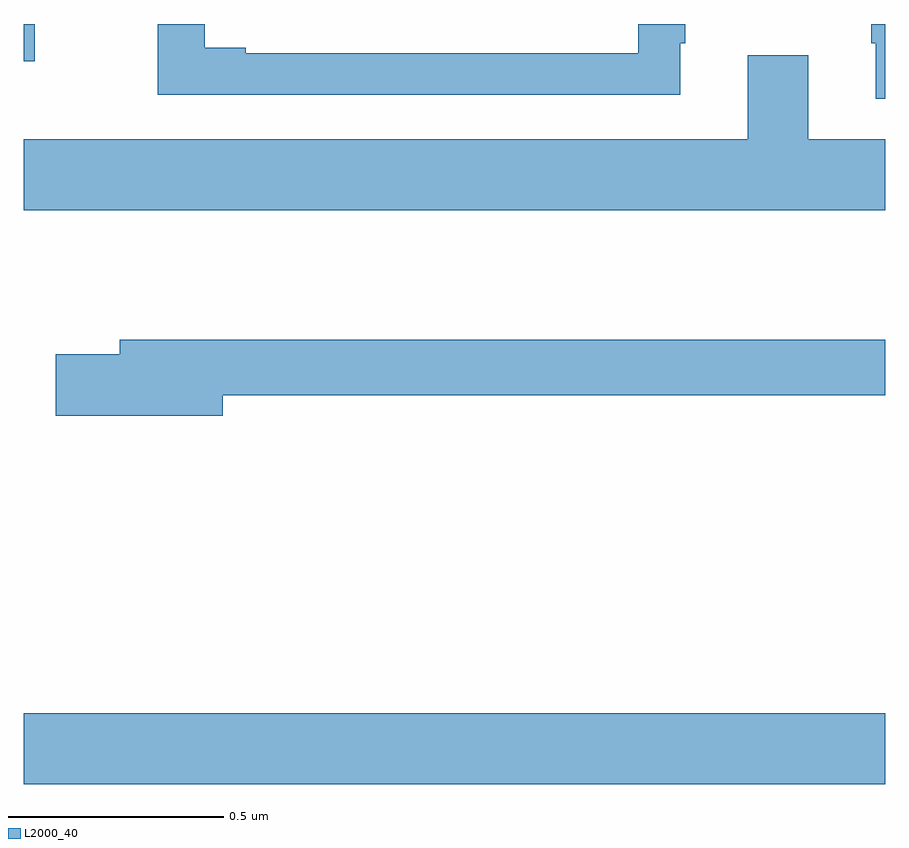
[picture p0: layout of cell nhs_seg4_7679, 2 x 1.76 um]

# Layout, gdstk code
import gdstk
lib = gdstk.Library(unit=1e-6, precision=1e-09)
def R(c, l, rs):  # rectangles x0, y0, x1, y1
    for r in rs: c.add(gdstk.rectangle(r[:2], r[2:], *l))
def P(c, l, *ps):  # polygons
    for p in ps: c.add(gdstk.Polygon(p, *l))
L2000_40 = (2000, 40)

nhs_seg4_7679 = lib.new_cell('nhs_seg4_7679')
R(nhs_seg4_7679, L2000_40, [(205,814.136,207,814.3), (205,815.814,205.026,815.9)])
P(nhs_seg4_7679, L2000_40, [(206.524,815.855),(206.536,815.855),(206.536,815.9),(206.427,815.9),(206.427,815.832),(205.516,815.832),(205.516,815.845),(205.42,815.845),(205.42,815.9),(205.311,815.9),(205.311,815.736),(206.524,815.736)],
  [(207,815.9),(206.967,815.9),(206.967,815.855),(206.978,815.855),(206.978,815.727),(207,815.727)],
  [(207,815.632),(206.821,815.632),(206.821,815.827),(206.681,815.827),(206.681,815.632),(205,815.632),(205,815.468),(207,815.468)],
  [(205.462,815.038),(207,815.038),(207,815.167),(205.223,815.167),(205.223,815.133),(205.074,815.133),(205.074,814.991),(205.462,814.991)])

lib.write_gds('nhs_seg4_7679.gds')
